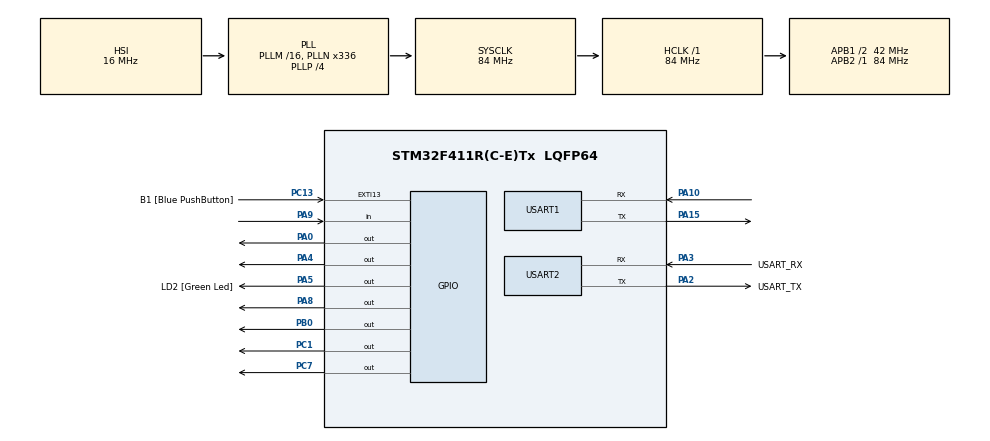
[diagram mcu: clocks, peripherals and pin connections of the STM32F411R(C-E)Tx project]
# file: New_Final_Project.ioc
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Mcu.Family=STM32F4
Mcu.Name=STM32F411R(C-E)Tx
Mcu.Package=LQFP64
NVIC.PriorityGroup=NVIC_PRIORITYGROUP_0
PA0-WKUP.Signal=GPIO_Output
PA10.Mode=Asynchronous
PA10.Signal=USART1_RX
PA13.GPIO_Label=TMS
PA13.Mode=Serial_Wire
PA13.Signal=SYS_JTMS-SWDIO
PA14.GPIO_Label=TCK
PA14.Mode=Serial_Wire
PA14.Signal=SYS_JTCK-SWCLK
PA15.Mode=Asynchronous
PA15.Signal=USART1_TX
PA2.GPIO_Label=USART_TX
PA2.Mode=Asynchronous
PA2.Signal=USART2_TX
PA3.GPIO_Label=USART_RX
PA3.Mode=Asynchronous
PA3.Signal=USART2_RX
PA4.Signal=GPIO_Output
PA5.GPIO_Label=LD2 [Green Led]
PA5.Signal=GPIO_Output
PA8.Signal=GPIO_Output
PA9.Signal=GPIO_Input
PB0.Signal=GPIO_Output
PB3.GPIO_Label=SWO
PB3.Signal=SYS_JTDO-SWO
PC1.Signal=GPIO_Output
PC13-ANTI_TAMP.GPIO_Label=B1 [Blue PushButton]
PC13-ANTI_TAMP.GPIO_ModeDefaultEXTI=GPIO_MODE_IT_FALLING
PC13-ANTI_TAMP.Signal=GPXTI13
PC14-OSC32_IN.Mode=LSE-External-Oscillator
PC14-OSC32_IN.Signal=RCC_OSC32_IN
PC15-OSC32_OUT.Mode=LSE-External-Oscillator
PC15-OSC32_OUT.Signal=RCC_OSC32_OUT
PC7.Signal=GPIO_Output
PH0\ -\ OSC_IN.Mode=HSE-External-Clock-Source
PH0\ -\ OSC_IN.Signal=RCC_OSC_IN
PH1\ -\ OSC_OUT.Mode=HSE-External-Clock-Source
PH1\ -\ OSC_OUT.Signal=RCC_OSC_OUT
ProjectManager.HeapSize=0x200
ProjectManager.StackSize=0x400
ProjectManager.TargetToolchain=STM32CubeIDE
RCC.48MHZClocksFreq_Value=84000000
RCC.AHBFreq_Value=84000000
RCC.APB1CLKDivider=RCC_HCLK_DIV2
RCC.APB1Freq_Value=42000000
RCC.APB1TimFreq_Value=84000000
RCC.APB2Freq_Value=84000000
RCC.APB2TimFreq_Value=84000000
RCC.CortexFreq_Value=84000000
RCC.FLatency-AdvancedSettings=FLASH_LATENCY_2
RCC.HCLKFreq_Value=84000000
RCC.HSE_VALUE=8000000
RCC.HSI_VALUE=16000000
RCC.PLLN=336
RCC.PLLP=RCC_PLLP_DIV4
RCC.SYSCLKFreq_VALUE=84000000
RCC.SYSCLKSource=RCC_SYSCLKSOURCE_PLLCLK
RCC.VCOOutputFreq_Value=336000000
USART1.VirtualMode=VM_ASYNC
USART2.VirtualMode=VM_ASYNC
board=NUCLEO-F411RE

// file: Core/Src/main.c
/* USER CODE BEGIN Header */
/**
  ******************************************************************************
  * @file           : main.c
  * @brief          : Ultrasonic + RGB LED + Buzzer (NUCLEO-F411RE)
  *                  TRIG = PA8
  *                  ECHO = PA9
  *                  BUZZER = PA0
  *                  RED LED = PA4
  *                  GREEN LED = PB0
  *                  BLUE LED = PC1 (unused)
  ******************************************************************************
  */
/* USER CODE END Header */
#include "main.h"

/* USER CODE BEGIN Includes */
#include <stdio.h>
#include <string.h>
/* USER CODE END Includes */

UART_HandleTypeDef huart1;
UART_HandleTypeDef huart2;

void SystemClock_Config(void);
static void MX_GPIO_Init(void);
static void MX_USART2_UART_Init(void);
static void MX_USART1_UART_Init(void);
/* USER CODE BEGIN PFP */

/* Microsecond delay using DWT cycle counter */
void delay_us(uint32_t us)
{
    uint32_t start = DWT->CYCCNT;
    uint32_t ticks = us * (SystemCoreClock / 1000000);
    while ((DWT->CYCCNT - start) < ticks);
}

/* Ultrasonic measurement using DWT */
float read_distance(void)
{
    /* 10us TRIG pulse */
    HAL_GPIO_WritePin(GPIOA, GPIO_PIN_8, GPIO_PIN_SET);
    delay_us(10);
    HAL_GPIO_WritePin(GPIOA, GPIO_PIN_8, GPIO_PIN_RESET);

    /* Wait for ECHO HIGH */
    uint32_t timeout = 30000;
    while (!HAL_GPIO_ReadPin(GPIOA, GPIO_PIN_9))
        if (--timeout == 0) return 999;

    uint32_t start_tick = DWT->CYCCNT;

    /* Wait for ECHO LOW */
    timeout = 30000;
    while (HAL_GPIO_ReadPin(GPIOA, GPIO_PIN_9))
        if (--timeout == 0) break;

    uint32_t end_tick = DWT->CYCCNT;

    uint32_t pulse_us = (end_tick - start_tick) / (SystemCoreClock / 1000000);

    float distance_cm = pulse_us / 58.0;
    return distance_cm;
}
/* USER CODE END PFP */

int main(void)
{

  /* MCU Configuration--------------------------------------------------------*/

  /* Reset of all peripherals, Initializes the Flash interface and the Systick. */
  HAL_Init();

  /* Configure the system clock */
  SystemClock_Config();

  /* Initialize all configured peripherals */
  MX_GPIO_Init();
  MX_USART2_UART_Init();
  MX_USART1_UART_Init();
  /* USER CODE BEGIN 2 */
  /* Enable DWT counter */
  CoreDebug->DEMCR |= CoreDebug_DEMCR_TRCENA_Msk;
  DWT->CYCCNT = 0;
  DWT->CTRL |= DWT_CTRL_CYCCNTENA_Msk;

  char msg[64];

//  uint8_t tx_msg[] = "Something Detected";
  uint8_t rx_buffer[50];
  /* USER CODE END 2 */

  /* Infinite loop */
  /* USER CODE BEGIN WHILE */
  while (1)
  {
	        //HAL_UART_Transmit(&huart1, tx_msg, strlen((char*)tx_msg), HAL_MAX_DELAY); // toUseLater

	        float dist = read_distance();
	        sprintf(msg, "Distance: %.2f cm\r\n", dist);
	        HAL_UART_Transmit(&huart2, (uint8_t*)msg, strlen(msg), 100);

	        /* ---------------------------------------
	           LED + Buzzer Logic
	           --------------------------------------- */

	        if (dist > 15)
	        {
	            // GREEN ON (PB0)
	            HAL_GPIO_WritePin(GPIOB, GPIO_PIN_0, GPIO_PIN_SET);

	            // RED OFF (PA4)
	            HAL_GPIO_WritePin(GPIOA, GPIO_PIN_4, GPIO_PIN_RESET);

	            // BUZZER OFF
	            HAL_GPIO_WritePin(GPIOA, GPIO_PIN_0, GPIO_PIN_RESET);

	            uint8_t tx_msg[] = "F";
	            HAL_UART_Transmit(&huart1, tx_msg, strlen((char*)tx_msg), HAL_MAX_DELAY);
	            HAL_UART_Transmit(&huart2, tx_msg, strlen((char*)tx_msg), HAL_MAX_DELAY);
	        }
	        else
	        {
	            // GREEN OFF
	            HAL_GPIO_WritePin(GPIOB, GPIO_PIN_0, GPIO_PIN_RESET);

	            // RED ON
	            HAL_GPIO_WritePin(GPIOA, GPIO_PIN_4, GPIO_PIN_SET);

	            // short beep
	            HAL_GPIO_WritePin(GPIOA, GPIO_PIN_0, GPIO_PIN_SET);
	            HAL_Delay(60);
	            HAL_GPIO_WritePin(GPIOA, GPIO_PIN_0, GPIO_PIN_RESET);

	            uint8_t tx_msg[] = "T";
	            HAL_UART_Transmit(&huart1, tx_msg, strlen((char*)tx_msg), HAL_MAX_DELAY);
	            HAL_UART_Transmit(&huart2, tx_msg, strlen((char*)tx_msg), HAL_MAX_DELAY);
	        }

	        HAL_Delay(150);

    /* USER CODE END WHILE */

  }
}

void SystemClock_Config(void)
{
  RCC_OscInitTypeDef RCC_OscInitStruct = {0};
  RCC_ClkInitTypeDef RCC_ClkInitStruct = {0};

  /** Configure the main internal regulator output voltage
  */
  __HAL_RCC_PWR_CLK_ENABLE();
  __HAL_PWR_VOLTAGESCALING_CONFIG(PWR_REGULATOR_VOLTAGE_SCALE1);

  /** Initializes the RCC Oscillators according to the specified parameters
  * in the RCC_OscInitTypeDef structure.
  */
  RCC_OscInitStruct.OscillatorType = RCC_OSCILLATORTYPE_HSI;
  RCC_OscInitStruct.HSIState = RCC_HSI_ON;
  RCC_OscInitStruct.HSICalibrationValue = RCC_HSICALIBRATION_DEFAULT;
  RCC_OscInitStruct.PLL.PLLState = RCC_PLL_ON;
  RCC_OscInitStruct.PLL.PLLSource = RCC_PLLSOURCE_HSI;
  RCC_OscInitStruct.PLL.PLLM = 16;
  RCC_OscInitStruct.PLL.PLLN = 336;
  RCC_OscInitStruct.PLL.PLLP = RCC_PLLP_DIV4;
  RCC_OscInitStruct.PLL.PLLQ = 4;
  if (HAL_RCC_OscConfig(&RCC_OscInitStruct) != HAL_OK)
  {
    Error_Handler();
  }

  /** Initializes the CPU, AHB and APB buses clocks
  */
  RCC_ClkInitStruct.ClockType = RCC_CLOCKTYPE_HCLK|RCC_CLOCKTYPE_SYSCLK
                              |RCC_CLOCKTYPE_PCLK1|RCC_CLOCKTYPE_PCLK2;
  RCC_ClkInitStruct.SYSCLKSource = RCC_SYSCLKSOURCE_PLLCLK;
  RCC_ClkInitStruct.AHBCLKDivider = RCC_SYSCLK_DIV1;
  RCC_ClkInitStruct.APB1CLKDivider = RCC_HCLK_DIV2;
  RCC_ClkInitStruct.APB2CLKDivider = RCC_HCLK_DIV1;

  if (HAL_RCC_ClockConfig(&RCC_ClkInitStruct, FLASH_LATENCY_2) != HAL_OK)
  {
    Error_Handler();
  }
}

static void MX_USART1_UART_Init(void)
{

  huart1.Instance = USART1;
  huart1.Init.BaudRate = 115200;
  huart1.Init.WordLength = UART_WORDLENGTH_8B;
  huart1.Init.StopBits = UART_STOPBITS_1;
  huart1.Init.Parity = UART_PARITY_NONE;
  huart1.Init.Mode = UART_MODE_TX_RX;
  huart1.Init.HwFlowCtl = UART_HWCONTROL_NONE;
  huart1.Init.OverSampling = UART_OVERSAMPLING_16;
  if (HAL_UART_Init(&huart1) != HAL_OK)
  {
    Error_Handler();
  }

}

static void MX_USART2_UART_Init(void)
{

  huart2.Instance = USART2;
  huart2.Init.BaudRate = 115200;
  huart2.Init.WordLength = UART_WORDLENGTH_8B;
  huart2.Init.StopBits = UART_STOPBITS_1;
  huart2.Init.Parity = UART_PARITY_NONE;
  huart2.Init.Mode = UART_MODE_TX_RX;
  huart2.Init.HwFlowCtl = UART_HWCONTROL_NONE;
  huart2.Init.OverSampling = UART_OVERSAMPLING_16;
  if (HAL_UART_Init(&huart2) != HAL_OK)
  {
    Error_Handler();
  }

}

static void MX_GPIO_Init(void)
{
  GPIO_InitTypeDef GPIO_InitStruct = {0};

  /* GPIO Ports Clock Enable */
  __HAL_RCC_GPIOC_CLK_ENABLE();
  __HAL_RCC_GPIOH_CLK_ENABLE();
  __HAL_RCC_GPIOA_CLK_ENABLE();
  __HAL_RCC_GPIOB_CLK_ENABLE();

  /*Configure GPIO pin Output Level */
  HAL_GPIO_WritePin(GPIOC, GPIO_PIN_1|GPIO_PIN_7, GPIO_PIN_RESET);

  /*Configure GPIO pin Output Level */
  HAL_GPIO_WritePin(GPIOA, GPIO_PIN_0|GPIO_PIN_4|LD2_Pin|GPIO_PIN_8, GPIO_PIN_RESET);

  /*Configure GPIO pin Output Level */
  HAL_GPIO_WritePin(GPIOB, GPIO_PIN_0, GPIO_PIN_RESET);

  /*Configure GPIO pin : B1_Pin */
  GPIO_InitStruct.Pin = B1_Pin;
  GPIO_InitStruct.Mode = GPIO_MODE_IT_FALLING;
  GPIO_InitStruct.Pull = GPIO_NOPULL;
  HAL_GPIO_Init(B1_GPIO_Port, &GPIO_InitStruct);

  /*Configure GPIO pins : PC1 PC7 */
  GPIO_InitStruct.Pin = GPIO_PIN_1|GPIO_PIN_7;
  GPIO_InitStruct.Mode = GPIO_MODE_OUTPUT_PP;
  GPIO_InitStruct.Pull = GPIO_NOPULL;
  GPIO_InitStruct.Speed = GPIO_SPEED_FREQ_LOW;
  HAL_GPIO_Init(GPIOC, &GPIO_InitStruct);

  /*Configure GPIO pins : PA0 PA4 LD2_Pin PA8 */
  GPIO_InitStruct.Pin = GPIO_PIN_0|GPIO_PIN_4|LD2_Pin|GPIO_PIN_8;
  GPIO_InitStruct.Mode = GPIO_MODE_OUTPUT_PP;
  GPIO_InitStruct.Pull = GPIO_NOPULL;
  GPIO_InitStruct.Speed = GPIO_SPEED_FREQ_LOW;
  HAL_GPIO_Init(GPIOA, &GPIO_InitStruct);

  /*Configure GPIO pin : PB0 */
  GPIO_InitStruct.Pin = GPIO_PIN_0;
  GPIO_InitStruct.Mode = GPIO_MODE_OUTPUT_PP;
  GPIO_InitStruct.Pull = GPIO_NOPULL;
  GPIO_InitStruct.Speed = GPIO_SPEED_FREQ_LOW;
  HAL_GPIO_Init(GPIOB, &GPIO_InitStruct);

  /*Configure GPIO pin : PA9 */
  GPIO_InitStruct.Pin = GPIO_PIN_9;
  GPIO_InitStruct.Mode = GPIO_MODE_INPUT;
  GPIO_InitStruct.Pull = GPIO_NOPULL;
  HAL_GPIO_Init(GPIOA, &GPIO_InitStruct);

}

void Error_Handler(void)
{
  __disable_irq();
  while (1)
  {
  }
}
